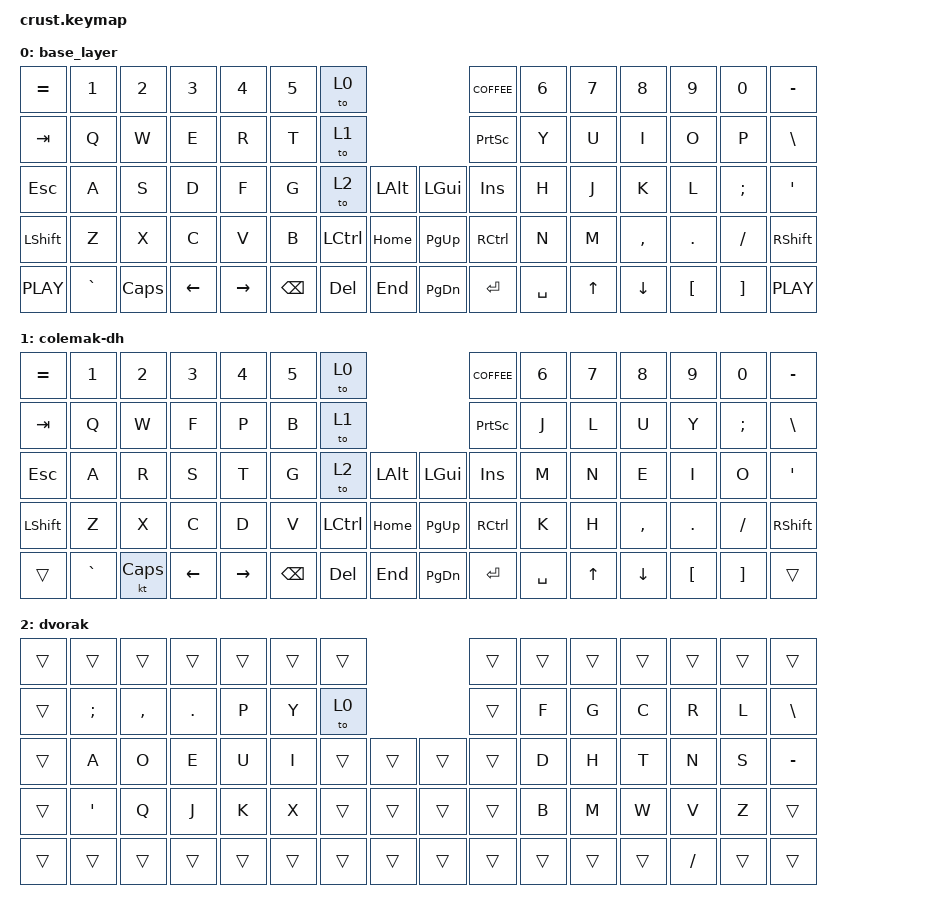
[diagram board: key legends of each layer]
#include <behaviors.dtsi>
#include <dt-bindings/zmk/bt.h>
#include <dt-bindings/zmk/keys.h>
#include <dt-bindings/zmk/keys.h>

/ {
    combos {
        compatible = "zmk,combos";

        bt-profile-1 {
            bindings = <&bt BT_SEL 0>;
            key-positions = <6 60>;
        };

        bt-profile-2 {
            bindings = <&bt BT_SEL 1>;
            key-positions = <60 20>;
        };

        bt-profile-3 {
            bindings = <&bt BT_SEL 2>;
            key-positions = <60 34>;
        };

        bt-profile-4 {
            bindings = <&bt BT_SEL 3>;
            key-positions = <60 7>;
        };

        bt-profile-5 {
            bindings = <&bt BT_SEL 4>;
            key-positions = <60 21>;
        };

        bt-profile-clear {
            bindings = <&bt BT_CLR>;
            key-positions = <60 37>;
        };

        reset {
            bindings = <&sys_reset>;
            key-positions = <60 75>;
        };

        bootloader {
            bindings = <&bootloader>;
            key-positions = <60 61 74 75>;
        };

        bt-profile-clear-all {
            bindings = <&bt BT_CLR_ALL>;
            key-positions = <60 34 20 6>;
        };
    };

    keymap {
        compatible = "zmk,keymap";

        base_layer {
            // ┏━━━━━━━━━━━┳━━━━━━━━━━━┳━━━━━━━━━━━┳━━━━━━━━━━━┳━━━━━━━━━━━┳━━━━━━━━━━━┳━━━━━━━━━━━┓     ┏━━━━━━━━━━━┳━━━━━━━━━━━┳━━━━━━━━━━━┳━━━━━━━━━━━┳━━━━━━━━━━━┳━━━━━━━━━━━┳━━━━━━━━━━━┓ 
            // ┃     =     ┃     1     ┃     2     ┃     3     ┃     4     ┃     5     ┃     8     ┃     ┃     7     ┃     8     ┃     9     ┃     0     ┃     P     ┃     G     ┃           ┃ 
            // ┣━━━━━━━━━━━╋━━━━━━━━━━━╋━━━━━━━━━━━╋━━━━━━━━━━━╋━━━━━━━━━━━╋━━━━━━━━━━━╋━━━━━━━━━━━┫     ┣━━━━━━━━━━━╋━━━━━━━━━━━╋━━━━━━━━━━━╋━━━━━━━━━━━╋━━━━━━━━━━━╋━━━━━━━━━━━╋━━━━━━━━━━━┫   
            // ┃    TAB    ┃     A     ┃     R     ┃     S     ┃     T     ┃     D     ┃           ┃     ┃           ┃     A     ┃     R     ┃     S     ┃     T     ┃     D     ┃           ┃
            // ┣━━━━━━━━━━━╋━━━━━━━━━━━╋━━━━━━━━━━━╋━━━━━━━━━━━╋━━━━━━━━━━━╋━━━━━━━━━━━╋━━━━━━━━━━━┫     ┣━━━━━━━━━━━╋━━━━━━━━━━━╋━━━━━━━━━━━╋━━━━━━━━━━━╋━━━━━━━━━━━╋━━━━━━━━━━━╋━━━━━━━━━━━┫
            // ┃    ESC    ┃     Z     ┃     X     ┃     C     ┃     V     ┃     B     ┃           ┃     ┃     Q     ┃     Z     ┃     X     ┃     C     ┃     V     ┃     B     ┃           ┃
            // ┣━━━━━━━━━━━╋━━━━━━━━━━━╋━━━━━━━━━━━╋━━━━━━━━━━━╋━━━━━━━━━━━╋━━━━━━━━━━━╋━━━━━━━━━━━┫     ┣━━━━━━━━━━━╋━━━━━━━━━━━╋━━━━━━━━━━━╋━━━━━━━━━━━╋━━━━━━━━━━━╋━━━━━━━━━━━╋━━━━━━━━━━━┫
            // ┃     ⇧     ┃     A     ┃     R     ┃     S     ┃     T     ┃     D     ┃           ┃     ┃           ┃     A     ┃     R     ┃     S     ┃     T     ┃     D     ┃           ┃
            // ┣━━━━━━━━━━━╋━━━━━━━━━━━╋━━━━━━━━━━━╋━━━━━━━━━━━╋━━━━━━━━━━━╋━━━━━━━━━━━╋━━━━━━━━━━━┫     ┣━━━━━━━━━━━╋━━━━━━━━━━━╋━━━━━━━━━━━╋━━━━━━━━━━━╋━━━━━━━━━━━╋━━━━━━━━━━━╋━━━━━━━━━━━┫
            // ┃     9     ┃     A     ┃     R     ┃     S     ┃     T     ┃     D     ┃           ┃     ┃           ┃     A     ┃     R     ┃     S     ┃     T     ┃     D     ┃           ┃
            // ┗━━━━━━━━━━━┻━━━━━━━━━━━┻━━━━━━━━━━━┻━━━━━━━━━━━╋━━━━━━━━━━━╋━━━━━━━━━━━╋━━━━━━━━━━━┫     ┣━━━━━━━━━━━╋━━━━━━━━━━━╋━━━━━━━━━━━╋━━━━━━━━━━━┻━━━━━━━━━━━┻━━━━━━━━━━━┻━━━━━━━━━━━┛
            //                                                 ┃    DEL    ┃    TAB    ┃    SPC    ┃     ┃    DEL    ┃    TAB    ┃    SPC    ┃
            //                                                 ┗━━━━━━━━━━━┻━━━━━━━━━━━┻━━━━━━━━━━━┛     ┗━━━━━━━━━━━┻━━━━━━━━━━━┻━━━━━━━━━━━┛

            bindings = <
&kp EQUAL   &kp N1     &kp N2    &kp N3    &kp N4     &kp N5    &to 0                           &kp K_COFFEE  &kp N6     &kp N7  &kp N8     &kp N9    &kp N0    &kp MINUS
&kp TAB     &kp Q      &kp W     &kp E     &kp R      &kp T     &to 1                           &kp PSCRN     &kp Y      &kp U   &kp I      &kp O     &kp P     &kp BSLH
&kp ESC     &kp A      &kp S     &kp D     &kp F      &kp G     &to 2      &kp LALT  &kp LGUI   &kp INS       &kp H      &kp J   &kp K      &kp L     &kp SEMI  &kp SQT
&kp LSHIFT  &kp Z      &kp X     &kp C     &kp V      &kp B     &kp LCTRL  &kp HOME  &kp PG_UP  &kp RCTRL     &kp N      &kp M   &kp COMMA  &kp DOT   &kp FSLH  &kp RSHIFT
&kp C_PLAY  &kp GRAVE  &kp CAPS  &kp LEFT  &kp RIGHT  &kp BSPC  &kp DEL    &kp END   &kp PG_DN  &kp ENTER     &kp SPACE  &kp UP  &kp DOWN   &kp LBKT  &kp RBKT  &kp C_PLAY
            >;
        };

        colemak-dh {
            bindings = <
&kp EQUAL       &kp NUMBER_1  &kp NUMBER_2  &kp NUMBER_3  &kp NUMBER_4  &kp N5         &to 0                                          &kp K_COFFEE       &kp NUMBER_6  &kp N7        &kp N8     &kp N9            &kp N0             &kp MINUS
&kp TAB         &kp Q         &kp W         &kp F         &kp P         &kp B          &to 1                                          &kp PRINTSCREEN    &kp J         &kp L         &kp U      &kp Y             &kp SEMICOLON      &kp BACKSLASH
&kp ESCAPE      &kp A         &kp R         &kp S         &kp T         &kp G          &to 2             &kp LEFT_ALT  &kp LEFT_GUI   &kp INS            &kp M         &kp N         &kp E      &kp I             &kp O              &kp SQT
&kp LEFT_SHIFT  &kp Z         &kp X         &kp C         &kp D         &kp V          &kp LEFT_CONTROL  &kp HOME      &kp PG_UP      &kp RIGHT_CONTROL  &kp K         &kp H         &kp COMMA  &kp PERIOD        &kp SLASH          &kp RSHIFT
&trans          &kp GRAVE     &kt CAPS      &kp LEFT      &kp RIGHT     &kp BACKSPACE  &kp DEL           &kp END       &kp PAGE_DOWN  &kp ENTER          &kp SPACE     &kp UP_ARROW  &kp DOWN   &kp LEFT_BRACKET  &kp RIGHT_BRACKET  &trans
            >;
        };

        dvorak {
            bindings = <
&trans  &trans         &trans     &trans      &trans  &trans  &trans                  &trans  &trans  &trans  &trans  &trans    &trans  &trans
&trans  &kp SEMICOLON  &kp COMMA  &kp PERIOD  &kp P   &kp Y   &to 0                   &trans  &kp F   &kp G   &kp C   &kp R     &kp L   &kp BSLH
&trans  &kp A          &kp O      &kp E       &kp U   &kp I   &trans  &trans  &trans  &trans  &kp D   &kp H   &kp T   &kp N     &kp S   &kp MINUS
&trans  &kp SQT        &kp Q      &kp J       &kp K   &kp X   &trans  &trans  &trans  &trans  &kp B   &kp M   &kp W   &kp V     &kp Z   &trans
&trans  &trans         &trans     &trans      &trans  &trans  &trans  &trans  &trans  &trans  &trans  &trans  &trans  &kp FSLH  &trans  &trans
            >;
        };
    };
};
